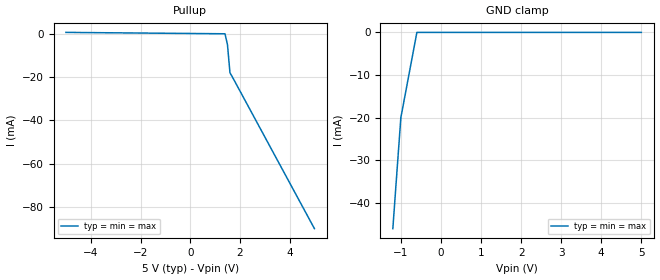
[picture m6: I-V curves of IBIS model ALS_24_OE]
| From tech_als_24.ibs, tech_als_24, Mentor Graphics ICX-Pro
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[Model]		ALS_24_OE
Model_type	Open_source
Polarity	Non-Inverting
Enable		Active-High
Vmeas = 1.300000V
Cref = 50.000000pF
Vref = 0.0V
Rref = 0.250000k
|		typ		min		max
C_comp		5.000000pF		2.000000pF		8.000000pF
|			typ		min		max
[voltage range]	5.000000V		4.500000V		5.500000V
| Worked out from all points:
|   slope of the pullup table from 0 to 0.75 V, typ, clamps not added: 10 kohm
|   GND clamp passes 1 mA (typ) near -0.62 V on its own axis
[Pullup]
|	Voltage		I(typ)		I(min)		I(max)
-5V       640uA      640uA      640uA
1.4V      0A         0A         0A
1.5V      -5mA       -5mA       -5mA
1.6V      -18mA      -18mA      -18mA
1.7V      -20mA      -20mA      -20mA
5V        -90mA      -90mA      -90mA
[Gnd Clamp]
|	Voltage		I(typ)		I(min)		I(max)
-1.2V     -46mA      -46mA      -46mA
-1V       -20mA      -20mA      -20mA
-700mV    -5mA       -5mA       -5mA
-600mV    0A         0A         0A
0V        0A         0A         0A
5V        0A         0A         0A
[Ramp]
|  variable	typ		min		max
dV/dt_r		1.15/1.200000ns	0.91/1.500000ns	1/1.000000ns
dV/dt_f		2.2/1.200000ns	1.42/1.500000ns	1/1.000000ns
R_load = 	50Ohms
